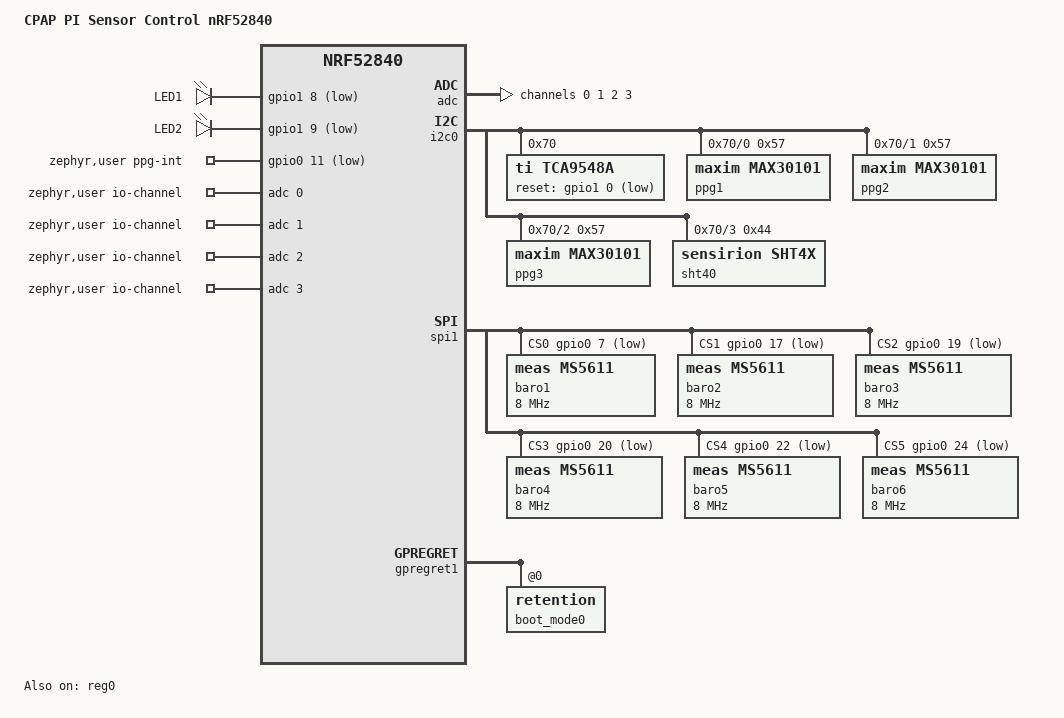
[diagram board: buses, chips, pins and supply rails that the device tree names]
/*
 * CPAP PI Sensor Control board — Raytac MDBT50Q-P1M module (nRF52840)
 *
 * SPDX-License-Identifier: Apache-2.0
 */

/dts-v1/;
#include <nordic/nrf52840_qiaa.dtsi>
#include <nordic/nrf52840_partition.dtsi>
#include <zephyr/dt-bindings/adc/adc.h>
#include <zephyr/dt-bindings/adc/nrf-saadc.h>
#include "cpap_pi_control_nrf52840-pinctrl.dtsi"

/ {
	model = "CPAP PI Sensor Control nRF52840";
	compatible = "kamoamoa,cpap-pi-control-nrf52840";

	chosen {
		zephyr,boot-mode = &boot_mode0;
	};

	leds {
		compatible = "gpio-leds";

		led0: led_0 {
			gpios = <&gpio1 8 GPIO_ACTIVE_LOW>;
			label = "LED1";
		};

		led1: led_1 {
			gpios = <&gpio1 9 GPIO_ACTIVE_LOW>;
			label = "LED2";
		};
	};

	zephyr,user {
		/* PPG sensor interrupt (shared by all 3 MAX30101, external
		 * 10k pull-up to DVDD, via 30-pin FPC)
		 */
		ppg-int-gpios = <&gpio0 11 GPIO_ACTIVE_LOW>;
		/* FSR analog front-end: FF1-FF3 TIA outputs + buffered VREF */
		io-channels = <&adc 0>, <&adc 1>, <&adc 2>, <&adc 3>;
	};

	aliases {
		led0 = &led0;
		led1 = &led1;
		watchdog0 = &wdt0;
	};
};

/* High-voltage mode: VDDH = DVDD = 3.3 V, REG0 supplies VDD/GPIO.
 * L4 (REG0 DCDC inductor) is unpopulated — REG0 stays in LDO mode.
 * board.c programs UICR REGOUT0 = 3V3 on first boot after an erase.
 */
&reg0 {
	status = "okay";
};

&adc {
	status = "okay";
	#address-cells = <1>;
	#size-cells = <0>;

	/* 12-bit, gain 1/6, 0.6 V internal ref -> 3.6 V full scale */
	channel@0 {
		reg = <0>;
		zephyr,gain = "ADC_GAIN_1_6";
		zephyr,reference = "ADC_REF_INTERNAL";
		zephyr,acquisition-time = <ADC_ACQ_TIME_DEFAULT>;
		zephyr,input-positive = <NRF_SAADC_AIN0>; /* P0.02 - FF1 */
		zephyr,resolution = <12>;
	};

	channel@1 {
		reg = <1>;
		zephyr,gain = "ADC_GAIN_1_6";
		zephyr,reference = "ADC_REF_INTERNAL";
		zephyr,acquisition-time = <ADC_ACQ_TIME_DEFAULT>;
		zephyr,input-positive = <NRF_SAADC_AIN1>; /* P0.03 - FF2 */
		zephyr,resolution = <12>;
	};

	channel@2 {
		reg = <2>;
		zephyr,gain = "ADC_GAIN_1_6";
		zephyr,reference = "ADC_REF_INTERNAL";
		zephyr,acquisition-time = <ADC_ACQ_TIME_DEFAULT>;
		zephyr,input-positive = <NRF_SAADC_AIN2>; /* P0.04 - FF3 */
		zephyr,resolution = <12>;
	};

	channel@3 {
		reg = <3>;
		zephyr,gain = "ADC_GAIN_1_6";
		zephyr,reference = "ADC_REF_INTERNAL";
		zephyr,acquisition-time = <ADC_ACQ_TIME_DEFAULT>;
		zephyr,input-positive = <NRF_SAADC_AIN3>; /* P0.05 - VREF */
		zephyr,resolution = <12>;
	};
};

&uicr {
	gpio-as-nreset;
};

&gpiote {
	status = "okay";
};

&gpio0 {
	status = "okay";
	gpio-line-names = "XL1", "XL2", "FF1/AIN0", "FF2/AIN1", "FF3/AIN2",
			  "VREF/AIN3", "", "CS1", "SDA", "NFC1", "NFC2", "PPG_INT",
			  "SCL", "SPI_SCK", "SPI_MOSI", "", "", "CS2", "RESET",
			  "CS3", "CS4", "SPI_MISO", "CS5", "", "CS6", "", "", "",
			  "", "", "", "";
};

&gpio1 {
	status = "okay";
	gpio-line-names = "TCA_RST", "", "", "", "", "", "", "",
			  "LED1", "LED2", "", "", "", "", "", "";
};

/* TCA9548A I2C mux @0x70 (A0=A1=A2=GND) — PPG1-3 on ch0-2, T/H on ch3.
 * Sensors live on the mask flex PCB, reached via the 30-pin FPC.
 * Bus pull-ups (4.7k to DVDD) are on the control board, up- and downstream.
 */
&i2c0 {
	status = "okay";
	pinctrl-0 = <&i2c0_default>;
	pinctrl-1 = <&i2c0_sleep>;
	pinctrl-names = "default", "sleep";

	tca9548a: tca9548a@70 {
		compatible = "ti,tca9548a";
		reg = <0x70>;
		status = "okay";
		#address-cells = <1>;
		#size-cells = <0>;
		reset-gpios = <&gpio1 0 GPIO_ACTIVE_LOW>;

		mux_i2c0: mux_i2c@0 {
			compatible = "ti,tca9548a-channel";
			reg = <0>;
			#address-cells = <1>;
			#size-cells = <0>;

			ppg1: max30101@57 {
				compatible = "maxim,max30101";
				reg = <0x57>;
				/* Rate budget: 3 LEDs, 100 Hz, 18-bit (411 us) */
				acq-mode = "multi-led";
				led-slot = <1 2 3 0>; /* R, IR, G */
				smp-sr = <100>;
				led-pw = <411>;
				fifo-rollover-en;
				/* Red/IR reflect strongly off tissue — 51 mA (default)
				 * saturates the ADC with a finger on the sensor. Green
				 * is absorbed by hemoglobin and needs more drive.
				 * 0.2 mA/LSB: R/IR = 6.2 mA, G = 25.4 mA.
				 */
				led-pa = [1f 1f 7f];
				adc-rge = <16384>;
			};
		};

		mux_i2c1: mux_i2c@1 {
			compatible = "ti,tca9548a-channel";
			reg = <1>;
			#address-cells = <1>;
			#size-cells = <0>;

			ppg2: max30101@57 {
				compatible = "maxim,max30101";
				reg = <0x57>;
				/* Rate budget: 3 LEDs, 100 Hz, 18-bit (411 us) */
				acq-mode = "multi-led";
				led-slot = <1 2 3 0>; /* R, IR, G */
				smp-sr = <100>;
				led-pw = <411>;
				fifo-rollover-en;
				/* Red/IR reflect strongly off tissue — 51 mA (default)
				 * saturates the ADC with a finger on the sensor. Green
				 * is absorbed by hemoglobin and needs more drive.
				 * 0.2 mA/LSB: R/IR = 6.2 mA, G = 25.4 mA.
				 */
				led-pa = [1f 1f 7f];
				adc-rge = <16384>;
			};
		};

		mux_i2c2: mux_i2c@2 {
			compatible = "ti,tca9548a-channel";
			reg = <2>;
			#address-cells = <1>;
			#size-cells = <0>;

			ppg3: max30101@57 {
				compatible = "maxim,max30101";
				reg = <0x57>;
				/* Rate budget: 3 LEDs, 100 Hz, 18-bit (411 us) */
				acq-mode = "multi-led";
				led-slot = <1 2 3 0>; /* R, IR, G */
				smp-sr = <100>;
				led-pw = <411>;
				fifo-rollover-en;
				/* Red/IR reflect strongly off tissue — 51 mA (default)
				 * saturates the ADC with a finger on the sensor. Green
				 * is absorbed by hemoglobin and needs more drive.
				 * 0.2 mA/LSB: R/IR = 6.2 mA, G = 25.4 mA.
				 */
				led-pa = [1f 1f 7f];
				adc-rge = <16384>;
			};
		};

		mux_i2c3: mux_i2c@3 {
			compatible = "ti,tca9548a-channel";
			reg = <3>;
			#address-cells = <1>;
			#size-cells = <0>;

			sht40: sht4x@44 {
				compatible = "sensirion,sht4x";
				reg = <0x44>;
				repeatability = <2>;
			};
		};
	};
};

/* Six MS5611 barometers on the mask flex PCB (PS = GND -> SPI mode),
 * one per chip-select, all sharing SCLK/SDI/SDO via the 30-pin FPC.
 */
&spi1 {
	status = "okay";
	pinctrl-0 = <&spi1_default>;
	pinctrl-1 = <&spi1_sleep>;
	pinctrl-names = "default", "sleep";
	cs-gpios = <&gpio0 7 GPIO_ACTIVE_LOW>,   /* CS1 */
		   <&gpio0 17 GPIO_ACTIVE_LOW>,  /* CS2 */
		   <&gpio0 19 GPIO_ACTIVE_LOW>,  /* CS3 */
		   <&gpio0 20 GPIO_ACTIVE_LOW>,  /* CS4 */
		   <&gpio0 22 GPIO_ACTIVE_LOW>,  /* CS5 */
		   <&gpio0 24 GPIO_ACTIVE_LOW>;  /* CS6 */

	baro1: ms5611@0 {
		compatible = "meas,ms5611";
		reg = <0>;
		spi-max-frequency = <8000000>;
	};

	baro2: ms5611@1 {
		compatible = "meas,ms5611";
		reg = <1>;
		spi-max-frequency = <8000000>;
	};

	baro3: ms5611@2 {
		compatible = "meas,ms5611";
		reg = <2>;
		spi-max-frequency = <8000000>;
	};

	baro4: ms5611@3 {
		compatible = "meas,ms5611";
		reg = <3>;
		spi-max-frequency = <8000000>;
	};

	baro5: ms5611@4 {
		compatible = "meas,ms5611";
		reg = <4>;
		spi-max-frequency = <8000000>;
	};

	baro6: ms5611@5 {
		compatible = "meas,ms5611";
		reg = <5>;
		spi-max-frequency = <8000000>;
	};
};

&gpregret1 {
	status = "okay";

	boot_mode0: boot_mode@0 {
		compatible = "zephyr,retention";
		status = "okay";
		reg = <0x0 0x1>;
	};
};
